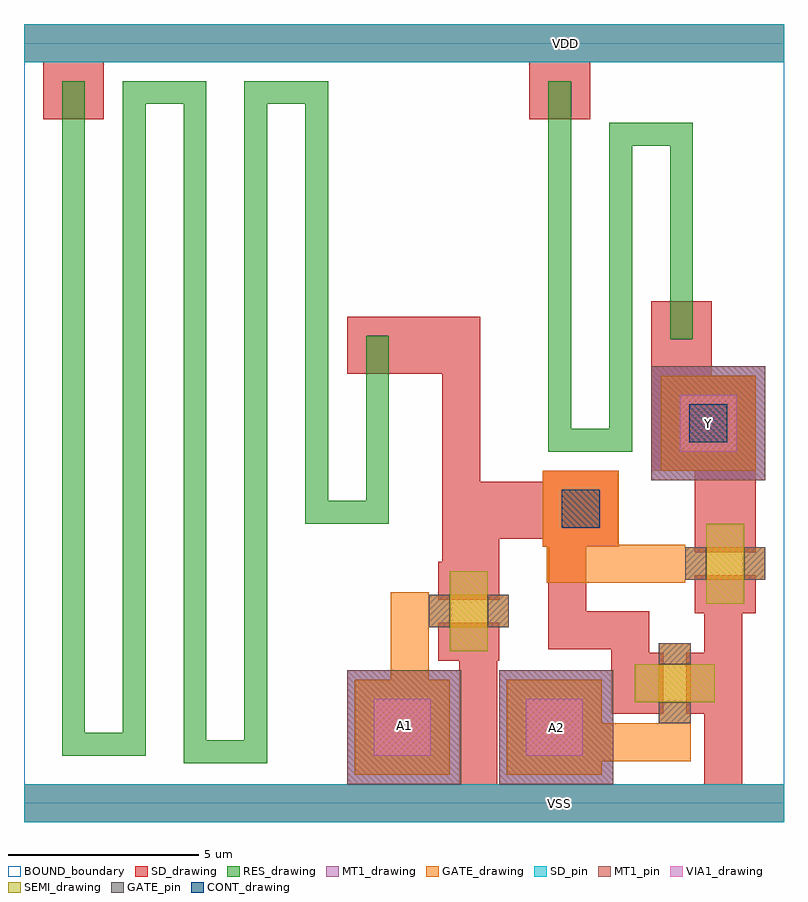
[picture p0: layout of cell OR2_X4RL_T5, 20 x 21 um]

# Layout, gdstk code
from math import pi, radians
import gdstk
lib = gdstk.Library(unit=1e-6, precision=1e-09)
def R(c, l, rs):  # rectangles x0, y0, x1, y1
    for r in rs: c.add(gdstk.rectangle(r[:2], r[2:], *l))
def P(c, l, *ps):  # polygons
    for p in ps: c.add(gdstk.Polygon(p, *l))
RES_drawing = (1, 0)
SEMI_drawing = (3, 0)
SD_drawing = (10, 0)
SD_pin = (10, 3)
GATE_drawing = (11, 0)
GATE_pin = (11, 3)
MT1_drawing = (20, 0)
MT1_pin = (20, 3)
CONT_drawing = (30, 0)
VIA1_drawing = (41, 0)
BOUND_boundary = (150, 5)

nch_cdns_772545123300 = lib.new_cell('nch_CDNS_772545123300')
R(nch_cdns_772545123300, SEMI_drawing, [(-1.05,-0.5,1.05,0.5)])
R(nch_cdns_772545123300, SD_drawing, [(-1.3,-0.8,-0.3,0.8), (0.3,-0.8,1.3,0.8)])
R(nch_cdns_772545123300, GATE_drawing, [(-0.425,-1.05,0.425,1.05)])
R(nch_cdns_772545123300, GATE_pin, [(-0.425,-1.05,0.425,-0.5), (-0.425,0.5,0.425,1.05)])

gate_mt1_cdns_7725451233 = lib.new_cell('GATE_MT1_CDNS_772545123300')
R(gate_mt1_cdns_7725451233, GATE_drawing, [(-1.25,-1.25,1.25,1.25)])
R(gate_mt1_cdns_7725451233, MT1_drawing, [(-1.25,-1.25,1.25,1.25)])
R(gate_mt1_cdns_7725451233, VIA1_drawing, [(-0.75,-0.75,0.75,0.75)])

sd_gate_cdns_77254512330 = lib.new_cell('SD_GATE_CDNS_772545123301')
R(sd_gate_cdns_77254512330, SD_drawing, [(-1,-1,1,1)])
R(sd_gate_cdns_77254512330, GATE_drawing, [(-1,-1,1,1)])
R(sd_gate_cdns_77254512330, CONT_drawing, [(-0.5,-0.5,0.5,0.5)])

or2_x4rl_t5 = lib.new_cell('OR2_X4RL_T5')
R(or2_x4rl_t5, SD_drawing, [(16.75,8.75,19.25,11.25), (16.5,11.55,18.1,13.2), (0.5,18,2.1,19.5), (13.3,18,14.9,19.5), (13.3,18,14.9,19.5)])
P(or2_x4rl_t5, SD_drawing, [(12,12.8),(8.5,12.8),(8.5,11.3),(11,11.3),(11,6.95),(12,6.95)])
R(or2_x4rl_t5, SD_pin, [(0,-0.5,20,0.5), (0,19.5,20,20.5)])
P(or2_x4rl_t5, GATE_drawing, [(17.3,6.8),(17.3,5.8),(17.4,5.8),(17.4,5.925),(17.45,5.925),(17.45,6.675),(17.4,6.675),(17.4,6.8)],
  [(16.65,2),(17.55,2),(17.55,2.15),(16.8,2.15),(16.8,2.1),(16.65,2.1)],
  [(10.55,5.55),(10.55,4.575),(10.65,4.575),(10.65,4.675),(10.7,4.675),(10.7,5.425),(10.65,5.425),(10.65,5.55)])
R(or2_x4rl_t5, MT1_drawing, [(8.5,0.5,11.5,3.5), (12.5,0.5,15.5,3.5), (16.5,8.5,19.5,11.5)])
R(or2_x4rl_t5, MT1_pin, [(8.5,0.5,11.5,3.5), (12.5,0.5,15.5,3.5), (16.5,8.5,19.5,11.5)])
R(or2_x4rl_t5, BOUND_boundary, [(0,0,20,20)])
or2_x4rl_t5.add(gdstk.FlexPath([(0,0),(20,0)], 1, ends="flush", simple_path=True, layer=10, datatype=0))  # SD_drawing
or2_x4rl_t5.add(gdstk.FlexPath([(0,20),(20,20)], 1, ends="flush", simple_path=True, layer=10, datatype=0))  # SD_drawing
or2_x4rl_t5.add(gdstk.FlexPath([(11.8,6.35),(11.8,6.95)], 1.4, ends="flush", simple_path=True, layer=10, datatype=0))  # SD_drawing
or2_x4rl_t5.add(gdstk.FlexPath([(14.3,4.55),(15.95,4.55)], 1, ends="extended", simple_path=True, layer=10, datatype=0))  # SD_drawing
or2_x4rl_t5.add(gdstk.FlexPath([(11.95,3.75),(11.95,0.5)], 1, ends="flush", simple_path=True, layer=10, datatype=0))  # SD_drawing
or2_x4rl_t5.add(gdstk.FlexPath([(14.3,8.45),(14.3,4.55)], 1, ends=(0, 0.5), simple_path=True, layer=10, datatype=0))  # SD_drawing
or2_x4rl_t5.add(gdstk.FlexPath([(18.4,5.95),(18.4,0.5)], 1, ends="flush", simple_path=True, layer=10, datatype=0))  # SD_drawing
or2_x4rl_t5.add(gdstk.FlexPath([(11.7,6.35),(11.7,6.95)], 1.4, ends="flush", simple_path=True, layer=10, datatype=0))  # SD_drawing
or2_x4rl_t5.add(gdstk.FlexPath([(15.95,4.55),(15.95,2.85)], 1, ends="extended", simple_path=True, layer=10, datatype=0))  # SD_drawing
or2_x4rl_t5.add(gdstk.FlexPath([(18.45,7.6),(18.45,11.25)], 1.6, ends="flush", simple_path=True, layer=10, datatype=0))  # SD_drawing
or2_x4rl_t5.add(gdstk.FlexPath([(17.3,11.55),(17.3,8.75)], 1.6, ends="flush", simple_path=True, layer=10, datatype=0))  # SD_drawing
or2_x4rl_t5.add(gdstk.FlexPath([(11.95,7.7),(14.05,7.7)], 1.5, ends=(0, 0.75), simple_path=True, layer=10, datatype=0))  # SD_drawing
or2_x4rl_t5.add(gdstk.FlexPath([(17.3,6.3),(13.75,6.3)], 1, ends="flush", simple_path=True, layer=11, datatype=0))  # GATE_drawing
or2_x4rl_t5.add(gdstk.FlexPath([(10.55,5.05),(10.15,5.05)], 1, ends=(0, 0.5), simple_path=True, layer=11, datatype=0))  # GATE_drawing
or2_x4rl_t5.add(gdstk.FlexPath([(10.15,5.05),(10.15,3.25)], 1, ends=(0.5, 0), simple_path=True, layer=11, datatype=0))  # GATE_drawing
or2_x4rl_t5.add(gdstk.FlexPath([(15.7,1.6),(17.55,1.6)], 1, ends=(0.5, 0), simple_path=True, layer=11, datatype=0))  # GATE_drawing
or2_x4rl_t5.add(gdstk.FlexPath([(14.1,9.55),(15.7,9.55)], 0.6, ends="extended", simple_path=True, layer=1, datatype=0))  # RES_drawing
or2_x4rl_t5.add(gdstk.FlexPath([(15.7,9.55),(15.7,17.6)], 0.6, ends="extended", simple_path=True, layer=1, datatype=0))  # RES_drawing
or2_x4rl_t5.add(gdstk.FlexPath([(15.7,17.6),(17.3,17.6)], 0.6, ends="extended", simple_path=True, layer=1, datatype=0))  # RES_drawing
or2_x4rl_t5.add(gdstk.FlexPath([(17.3,17.6),(17.3,12.2)], 0.6, ends=(0.3, 0), simple_path=True, layer=1, datatype=0))  # RES_drawing
or2_x4rl_t5.add(gdstk.FlexPath([(1.3,18),(1.3,1.55),(2.9,1.55),(2.9,18.7),(4.5,18.7),(4.5,1.35),(6.1,1.35),(6.1,18.7),(7.7,18.7),(7.7,7.65),(9.3,7.65)], 0.6, ends=(1, 0.3), simple_path=True, layer=1, datatype=0))  # RES_drawing
or2_x4rl_t5.add(gdstk.FlexPath([(14.1,19),(14.1,9.55)], 0.6, ends=(0, 0.3), simple_path=True, layer=1, datatype=0))  # RES_drawing
or2_x4rl_t5.add(gdstk.FlexPath([(9.3,7.65),(9.3,12.3)], 0.6, ends=(0.3, 0), simple_path=True, layer=1, datatype=0))  # RES_drawing
or2_x4rl_t5.add(gdstk.Reference(nch_cdns_772545123300, (18.45,6.3), rotation=pi/2))
or2_x4rl_t5.add(gdstk.Reference(nch_cdns_772545123300, (17.125,3.15), rotation=pi))
or2_x4rl_t5.add(gdstk.Reference(nch_cdns_772545123300, (11.7,5.05), rotation=pi/2))
or2_x4rl_t5.add(gdstk.Reference(gate_mt1_cdns_7725451233, (18,10)))
or2_x4rl_t5.add(gdstk.Reference(gate_mt1_cdns_7725451233, (13.95,2)))
or2_x4rl_t5.add(gdstk.Reference(gate_mt1_cdns_7725451233, (9.95,2)))
or2_x4rl_t5.add(gdstk.Reference(sd_gate_cdns_77254512330, (14.65,7.75)))
or2_x4rl_t5.add(gdstk.Reference(sd_gate_cdns_77254512330, (18,10)))
or2_x4rl_t5.add(gdstk.Label('VSS', (14.1,0), layer=10, texttype=3))
or2_x4rl_t5.add(gdstk.Label('VDD', (14.25,20), layer=10, texttype=3))
or2_x4rl_t5.add(gdstk.Label('Y', (18,10), layer=20, texttype=3))
or2_x4rl_t5.add(gdstk.Label('A2', (14,2), layer=20, texttype=3))
or2_x4rl_t5.add(gdstk.Label('A1', (10,2.05), layer=20, texttype=3))

lib.write_gds('OR2_X4RL_T5.gds')
